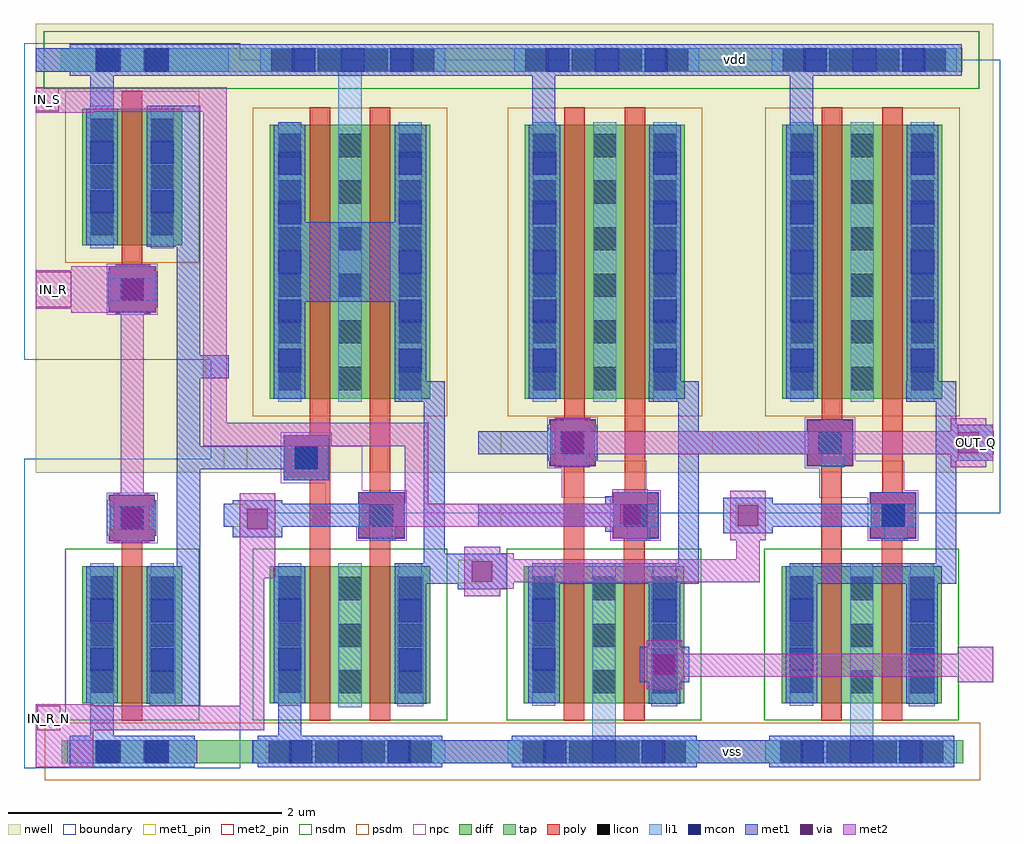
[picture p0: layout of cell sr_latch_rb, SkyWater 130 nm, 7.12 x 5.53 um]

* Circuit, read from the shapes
.subckt sr_latch_rb IN_R IN_R_N IN_S OUT_Q vdd vss
XM1 nand_2/IN_A IN_R vss vss sky130_fd_pr__nfet_01v8 w=1 l=0.15
XM2 nand_2/drain_mna nand_2/IN_A vss vss sky130_fd_pr__nfet_01v8 w=1 l=0.15
XM3 nor_1/IN_B IN_R_N nand_2/drain_mna vss sky130_fd_pr__nfet_01v8 w=1 l=0.15
XM4 vss OUT_Q nor_1/IN_A vss sky130_fd_pr__nfet_01v8 w=1 l=0.15
XM5 nor_1/IN_A IN_S vss vss sky130_fd_pr__nfet_01v8 w=1 l=0.15
XM6 vss nor_1/IN_A OUT_Q vss sky130_fd_pr__nfet_01v8 w=1 l=0.15
XM7 OUT_Q nor_1/IN_B vss vss sky130_fd_pr__nfet_01v8 w=1 l=0.15
XM8 nand_2/IN_A IN_R vdd vdd sky130_fd_pr__pfet_01v8 w=1 l=0.15
XM9 vdd nand_2/IN_A nor_1/IN_B vdd sky130_fd_pr__pfet_01v8 w=2 l=0.15
XM10 nor_1/IN_B IN_R_N vdd vdd sky130_fd_pr__pfet_01v8 w=2 l=0.15
XM11 n1 OUT_Q vdd vdd sky130_fd_pr__pfet_01v8 w=2 l=0.15
XM12 nor_1/IN_A IN_S n1 vdd sky130_fd_pr__pfet_01v8 w=2 l=0.15
XM13 n2 nor_1/IN_A vdd vdd sky130_fd_pr__pfet_01v8 w=2 l=0.15
XM14 OUT_Q nor_1/IN_B n2 vdd sky130_fd_pr__pfet_01v8 w=2 l=0.15
.ends

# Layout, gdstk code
from math import pi, radians
import gdstk
lib = gdstk.Library(unit=1e-6, precision=1e-09)
def R(c, l, rs):  # rectangles x0, y0, x1, y1
    for r in rs: c.add(gdstk.rectangle(r[:2], r[2:], *l))
def A(c, l, x, y, w, h, nx, ny, dx, dy):  # array of equal rectangles
    R(c, l, [(x+i*dx, y+j*dy, x+i*dx+w, y+j*dy+h) for i in range(nx) for j in range(ny)])
nwell = (64, 20)
diff = (65, 20)
tap = (65, 44)
poly = (66, 20)
licon = (66, 44)
li1 = (67, 20)
mcon = (67, 44)
met1_pin = (68, 16)
met1 = (68, 20)
via = (68, 44)
met2_pin = (69, 16)
met2 = (69, 20)
nsdm = (93, 44)
psdm = (94, 20)
npc = (95, 20)
boundary = (235, 4)

sky130_fd_pr__pfet_01v8_ = lib.new_cell('sky130_fd_pr__pfet_01v8_7P3MHC')
R(sky130_fd_pr__pfet_01v8_, nwell, [(-0.705,-1,0.69,1.38)])
R(sky130_fd_pr__pfet_01v8_, diff, [(-0.37,-0.82,0.36,1.18)])
R(sky130_fd_pr__pfet_01v8_, poly, [(-0.08,-0.95,0.07,1.31)])
A(sky130_fd_pr__pfet_01v8_, licon, -0.31, -0.755, 0.17, 0.17, 1, 6, 0, 0.34)
A(sky130_fd_pr__pfet_01v8_, licon, 0.13, -0.755, 0.17, 0.17, 1, 6, 0, 0.34)
R(sky130_fd_pr__pfet_01v8_, li1, [(-0.31,-0.84,-0.14,1.2), (0.13,-0.84,0.3,1.2)])
R(sky130_fd_pr__pfet_01v8_, psdm, [(-0.495,-0.945,0.485,1.305)])
R(sky130_fd_pr__pfet_01v8_, boundary, [(-0.79,-1.655,0.79,1.655)])

nor = lib.new_cell('nor')
R(nor, nwell, [(-5.995,4.82,-4.115,8.1)])
R(nor, diff, [(-5.66,3.14,-4.49,4.14)])
R(nor, tap, [(-5.815,2.7,-4.34,2.87), (-5.77,7.75,-4.34,7.92)])
R(nor, poly, [(-5.37,3.01,-5.22,4.875), (-4.93,3.01,-4.78,4.33), (-4.93,4.33,-4.76,4.345), (-5.01,4.345,-4.68,4.675), (-4.925,4.675,-4.775,5.36), (-5.47,4.875,-5.14,5.205), (-5.365,5.205,-5.215,5.24), (-5.365,5.24,-5.22,5.36)])
A(nor, licon, -5.67, 2.7, 0.17, 0.17, 4, 1, 0.34, 0)
A(nor, licon, -5.16, 3.21, 0.17, 0.17, 1, 3, 0, 0.34)
A(nor, licon, -4.72, 3.21, 0.17, 0.17, 1, 3, 0, 0.34)
A(nor, licon, -5.6, 3.215, 0.17, 0.17, 1, 3, 0, 0.34)
A(nor, licon, -5.65, 7.75, 0.17, 0.17, 4, 1, 0.34, 0)
R(nor, licon, [(-4.93,4.425,-4.76,4.595), (-5.39,4.955,-5.22,5.125)])
R(nor, li1, [(-5.78,2.7,-4.38,2.87), (-5.16,2.87,-4.99,4.16), (-4.73,3.115,-4.54,4.08), (-5.6,3.12,-5.43,4.16), (-4.72,4.08,-4.55,4.16), (-4.91,4.33,-4.74,4.425), (-5.01,4.425,-4.68,4.595), (-5.37,4.86,-5.2,4.955), (-5.47,4.955,-5.14,5.125), (-5.595,5.42,-5.425,7.3), (-4.715,5.42,-4.545,7.3), (-5.73,7.75,-4.38,7.92)])
A(nor, mcon, -5.52, 2.7, 0.17, 0.17, 3, 1, 0.36, 0)
A(nor, mcon, -5.595, 5.555, 0.17, 0.17, 1, 5, 0, 0.36)
A(nor, mcon, -4.715, 5.555, 0.17, 0.17, 1, 5, 0, 0.36)
A(nor, mcon, -5.5, 7.75, 0.17, 0.17, 3, 1, 0.36, 0)
R(nor, mcon, [(-4.72,3.37,-4.55,3.54), (-5.6,3.375,-5.43,3.545), (-4.72,3.73,-4.55,3.9), (-5.6,3.735,-5.43,3.905), (-4.93,4.425,-4.76,4.595), (-5.39,4.955,-5.22,5.125)])
R(nor, met1_pin, [(-5.69,2.7,-4.46,2.87), (-5.995,4.425,-5.825,4.595), (-5.995,4.955,-5.825,5.125), (-4.285,4.955,-4.115,5.125), (-5.65,7.75,-4.46,7.92)])
R(nor, met1, [(-5.75,2.67,-4.4,2.9), (-4.75,3.135,-4.52,4.01), (-5.63,3.14,-5.4,4.01), (-5.63,4.01,-4.385,4.14), (-5.6,4.14,-4.385,4.16), (-4.535,4.16,-4.385,4.955), (-5.015,4.34,-4.675,4.425), (-5.995,4.425,-4.675,4.595), (-5.015,4.595,-4.675,4.68), (-5.475,4.87,-5.135,4.955), (-5.995,4.955,-5.135,5.125), (-4.535,4.955,-4.115,5.125), (-5.475,5.125,-5.135,5.21), (-4.535,5.125,-4.385,5.34), (-4.75,5.34,-4.385,5.49), (-5.625,5.36,-5.395,7.36), (-4.745,5.49,-4.515,7.36), (-5.6,7.36,-5.43,7.72), (-5.71,7.72,-4.4,7.95)])
R(nor, nsdm, [(-5.785,3.015,-4.365,4.265), (-5.895,7.625,-4.215,8.045)])
R(nor, psdm, [(-5.94,2.575,-4.215,2.995)])
R(nor, npc, [(-5.03,4.325,-4.66,4.64), (-5.385,4.64,-4.66,4.695), (-5.385,4.695,-4.765,4.855), (-5.49,4.855,-4.765,4.91), (-5.49,4.91,-5.12,5.225)])
nor.add(gdstk.Reference(sky130_fd_pr__pfet_01v8_, (-5.295,6.18), rotation=pi, x_reflection=True))
nor.add(gdstk.Reference(sky130_fd_pr__pfet_01v8_, (-4.855,6.18), rotation=pi, x_reflection=True))
nor.add(gdstk.Label('IN_A', (-5.91,5.04), layer=68, texttype=5))
nor.add(gdstk.Label('IN_B', (-5.91,4.51), layer=68, texttype=5))
nor.add(gdstk.Label('OUT', (-4.2,5.04), layer=68, texttype=5))
nor.add(gdstk.Label('vdd', (-5.055,7.835), layer=68, texttype=5))
nor.add(gdstk.Label('vss', (-5.075,2.785), layer=68, texttype=5))

nand = lib.new_cell('nand')
R(nand, nwell, [(-5.995,4.82,-4.115,7.56), (-5.99,7.56,-4.115,8.1)])
R(nand, diff, [(-5.66,3.14,-4.49,4.14)])
R(nand, tap, [(-5.815,2.7,-4.34,2.87), (-5.77,7.75,-4.34,7.92)])
R(nand, poly, [(-5.37,3.01,-5.22,4.765), (-4.93,3.01,-4.78,4.33), (-4.93,4.33,-4.76,4.345), (-5.01,4.345,-4.68,4.675), (-4.93,4.675,-4.78,5.36), (-5.56,4.765,-5.22,5.095), (-5.37,5.095,-5.22,5.36)])
A(nand, licon, -5.67, 2.7, 0.17, 0.17, 4, 1, 0.34, 0)
A(nand, licon, -5.16, 3.21, 0.17, 0.17, 1, 3, 0, 0.34)
A(nand, licon, -4.72, 3.21, 0.17, 0.17, 1, 3, 0, 0.34)
A(nand, licon, -5.6, 3.215, 0.17, 0.17, 1, 3, 0, 0.34)
A(nand, licon, -5.65, 7.75, 0.17, 0.17, 4, 1, 0.34, 0)
R(nand, licon, [(-4.93,4.425,-4.76,4.595), (-5.48,4.845,-5.31,5.015)])
R(nand, li1, [(-5.78,2.7,-4.38,2.87), (-5.16,3.11,-4.99,4.16), (-4.73,3.115,-4.54,4.08), (-5.6,3.12,-5.43,4.16), (-4.72,4.08,-4.55,4.16), (-4.91,4.33,-4.74,4.425), (-5.01,4.425,-4.68,4.595), (-5.56,4.765,-5.23,5.095), (-5.6,5.42,-5.43,7.3), (-4.72,5.42,-4.55,7.3), (-5.16,7.3,-4.99,7.75), (-5.73,7.75,-4.38,7.92)])
A(nand, mcon, -5.52, 2.7, 0.17, 0.17, 3, 1, 0.36, 0)
A(nand, mcon, -5.6, 5.555, 0.17, 0.17, 1, 5, 0, 0.36)
A(nand, mcon, -4.72, 5.555, 0.17, 0.17, 1, 5, 0, 0.36)
A(nand, mcon, -5.5, 7.75, 0.17, 0.17, 3, 1, 0.36, 0)
R(nand, mcon, [(-4.72,3.37,-4.55,3.54), (-5.6,3.375,-5.43,3.545), (-4.72,3.73,-4.55,3.9), (-5.6,3.735,-5.43,3.905), (-4.93,4.425,-4.76,4.595), (-5.48,4.845,-5.31,5.015)])
R(nand, met1_pin, [(-5.69,2.7,-4.46,2.87), (-4.285,4.015,-4.115,4.185), (-5.995,4.425,-5.825,4.595), (-5.995,4.845,-5.825,5.015), (-5.65,7.75,-4.46,7.92)])
R(nand, met1, [(-5.75,2.67,-4.4,2.9), (-5.6,2.9,-5.43,3.14), (-4.75,3.135,-4.52,4.01), (-5.63,3.14,-5.4,4.14), (-4.75,4.01,-4.115,4.16), (-4.535,4.16,-4.115,4.19), (-4.535,4.19,-4.385,5.34), (-5.015,4.34,-4.675,4.425), (-5.995,4.425,-4.675,4.595), (-5.015,4.595,-4.675,4.68), (-5.56,4.765,-5.23,4.845), (-5.995,4.845,-5.23,5.015), (-5.56,5.015,-5.23,5.095), (-4.75,5.34,-4.385,5.49), (-5.63,5.36,-5.4,6.07), (-4.75,5.49,-4.52,6.07), (-5.63,6.07,-4.52,6.65), (-5.63,6.65,-5.4,7.36), (-4.75,6.65,-4.52,7.36), (-5.6,7.36,-5.43,7.38), (-5.71,7.72,-4.4,7.95)])
R(nand, nsdm, [(-5.785,3.015,-4.365,4.265), (-5.895,7.625,-4.215,8.045)])
R(nand, psdm, [(-5.94,2.575,-4.215,2.995)])
R(nand, npc, [(-5.03,4.325,-4.66,4.425), (-5.255,4.425,-4.66,4.695), (-5.255,4.695,-4.985,4.745), (-5.58,4.745,-4.985,5.015), (-5.58,5.015,-5.21,5.115)])
nand.add(gdstk.Reference(sky130_fd_pr__pfet_01v8_, (-5.3,6.18), rotation=pi, x_reflection=True))
nand.add(gdstk.Reference(sky130_fd_pr__pfet_01v8_, (-4.86,6.18), rotation=pi, x_reflection=True))
nand.add(gdstk.Label('drain_mna', (-5.07,3.64), layer=67, texttype=5))
nand.add(gdstk.Label('IN_A', (-5.91,4.93), layer=68, texttype=5))
nand.add(gdstk.Label('IN_B', (-5.91,4.51), layer=68, texttype=5))
nand.add(gdstk.Label('OUT', (-4.2,4.1), layer=68, texttype=5))
nand.add(gdstk.Label('vdd', (-5.055,7.835), layer=68, texttype=5))
nand.add(gdstk.Label('vss', (-5.075,2.785), layer=68, texttype=5))

sky130_fd_pr__nfet_01v8_ = lib.new_cell('sky130_fd_pr__nfet_01v8_BXYDM4')
R(sky130_fd_pr__nfet_01v8_, diff, [(-0.365,-0.655,0.365,0.345)])
R(sky130_fd_pr__nfet_01v8_, poly, [(-0.075,-0.785,0.075,0.475)])
A(sky130_fd_pr__nfet_01v8_, licon, 0.135, -0.585, 0.17, 0.17, 1, 3, 0, 0.34)
A(sky130_fd_pr__nfet_01v8_, licon, -0.305, -0.58, 0.17, 0.17, 1, 3, 0, 0.34)
R(sky130_fd_pr__nfet_01v8_, li1, [(0.125,-0.68,0.315,0.285), (-0.305,-0.675,-0.135,0.365), (0.135,0.285,0.305,0.365)])
R(sky130_fd_pr__nfet_01v8_, mcon, [(0.135,-0.425,0.305,-0.255), (-0.305,-0.42,-0.135,-0.25), (0.135,-0.065,0.305,0.105), (-0.305,-0.06,-0.135,0.11)])
R(sky130_fd_pr__nfet_01v8_, met1, [(0.105,-0.66,0.335,0.345), (-0.335,-0.655,-0.105,0.345)])
R(sky130_fd_pr__nfet_01v8_, nsdm, [(-0.49,-0.78,0.49,0.47)])
R(sky130_fd_pr__nfet_01v8_, boundary, [(-0.79,-1.13,0.79,1.13)])

c_sky130_fd_pr__pfet_01v8_ = lib.new_cell('sky130_fd_pr__pfet_01v8_7PK3FC')
R(c_sky130_fd_pr__pfet_01v8_, nwell, [(-0.705,-0.89,0.705,1.3)])
R(c_sky130_fd_pr__pfet_01v8_, diff, [(-0.365,-0.32,0.365,0.68)])
R(c_sky130_fd_pr__pfet_01v8_, tap, [(-0.52,0.95,0.52,1.12)])
R(c_sky130_fd_pr__pfet_01v8_, poly, [(-0.165,-0.805,0.165,-0.475), (-0.075,-0.475,0.075,0.81)])
A(c_sky130_fd_pr__pfet_01v8_, licon, -0.305, -0.245, 0.17, 0.17, 1, 3, 0, 0.34)
A(c_sky130_fd_pr__pfet_01v8_, licon, 0.135, -0.245, 0.17, 0.17, 1, 3, 0, 0.34)
R(c_sky130_fd_pr__pfet_01v8_, licon, [(-0.085,-0.725,0.085,-0.555), (-0.255,0.95,-0.085,1.12), (0.085,0.95,0.255,1.12)])
R(c_sky130_fd_pr__pfet_01v8_, li1, [(-0.165,-0.725,0.165,-0.555), (-0.305,-0.34,-0.135,0.7), (0.135,-0.34,0.305,0.7), (-0.705,0.95,0.705,1.12)])
R(c_sky130_fd_pr__pfet_01v8_, mcon, [(-0.085,-0.725,0.085,-0.555), (-0.305,-0.085,-0.135,0.085), (0.135,-0.085,0.305,0.085), (-0.305,0.275,-0.135,0.445), (0.135,0.275,0.305,0.445)])
R(c_sky130_fd_pr__pfet_01v8_, met1, [(-0.17,-0.81,0.17,-0.47), (-0.335,-0.32,-0.105,0.68), (0.105,-0.32,0.335,0.68), (-0.705,0.95,0.705,1.12)])
R(c_sky130_fd_pr__pfet_01v8_, nsdm, [(-0.645,0.825,0.645,1.245)])
R(c_sky130_fd_pr__pfet_01v8_, psdm, [(-0.49,-0.445,0.49,0.805)])
R(c_sky130_fd_pr__pfet_01v8_, npc, [(-0.185,-0.825,0.185,-0.455)])
R(c_sky130_fd_pr__pfet_01v8_, boundary, [(-0.79,-1.155,0.79,1.155)])

inv = lib.new_cell('inv')
R(inv, nwell, [(4.89,6.09,6.3,7.185)])
R(inv, tap, [(5.08,3.97,6.11,4.14)])
R(inv, poly, [(5.52,5.41,5.67,5.595), (5.43,5.595,5.76,5.925), (5.52,7.265,5.67,7.52)])
R(inv, licon, [(5.34,3.97,5.51,4.14), (5.68,3.97,5.85,4.14), (5.51,5.675,5.68,5.845)])
R(inv, li1, [(5.12,3.97,6.07,4.14), (5.43,5.675,5.76,5.845), (5.2,9.02,5.99,9.19)])
R(inv, mcon, [(5.33,3.97,5.5,4.14), (5.69,3.97,5.86,4.14), (5.51,5.675,5.68,5.845), (5.33,9.02,5.5,9.19), (5.69,9.02,5.86,9.19)])
R(inv, met1_pin, [(5.2,3.97,5.99,4.14), (6.13,6.78,6.3,6.95), (5.2,9.02,5.99,9.19)])
R(inv, met1, [(5.14,3.94,6.05,4.17), (5.29,4.17,5.46,5.35), (5.73,4.39,6.09,5.35), (5.92,5.35,6.09,6.78), (5.425,5.59,5.76,5.63), (5.41,5.63,5.77,5.89), (5.425,5.89,5.76,5.93), (5.92,6.78,6.3,6.95), (5.92,6.95,6.09,7.74), (5.43,7.26,5.76,7.3), (5.42,7.3,5.78,7.56), (5.43,7.56,5.76,7.6), (5.7,7.74,6.09,8.77), (5.29,7.81,5.46,8.99), (5.14,8.99,6.05,9.22)])
R(inv, via, [(5.515,5.685,5.665,5.835), (5.525,7.355,5.675,7.505)])
R(inv, met2_pin, [(4.89,7.3,5.15,7.56)])
R(inv, met2, [(5.46,5.58,5.72,5.94), (5.51,5.94,5.68,7.25), (5.47,7.25,5.73,7.26), (5.42,7.26,5.77,7.345), (4.89,7.29,5.16,7.345), (4.89,7.345,5.77,7.515), (4.89,7.515,5.16,7.57), (5.42,7.515,5.77,7.6), (5.47,7.6,5.73,7.61)])
R(inv, psdm, [(4.955,3.845,6.235,4.265)])
R(inv, npc, [(5.41,5.575,5.78,5.945)])
inv.add(gdstk.Reference(sky130_fd_pr__nfet_01v8_, (5.595,5.065)))
inv.add(gdstk.Reference(c_sky130_fd_pr__pfet_01v8_, (5.595,8.07)))
inv.add(gdstk.Label('vin', (5.02,7.43), layer=69, texttype=5))
inv.add(gdstk.Label('vout', (6.215,6.865), layer=68, texttype=5))
inv.add(gdstk.Label('vdd', (5.595,9.105), layer=68, texttype=5))
inv.add(gdstk.Label('vss', (5.595,4.055), layer=68, texttype=5))

sr_latch_rb = lib.new_cell('sr_latch_rb')
R(sr_latch_rb, nwell, [(-33.145,6.85,-26.58,7.02)])
R(sr_latch_rb, tap, [(-33.14,1.8,-26.56,1.97), (-33.145,6.85,-26.58,7.02)])
R(sr_latch_rb, met1_pin, [(-29.795,1.8,-26.685,1.97), (-29.755,6.85,-26.685,7.02)])
R(sr_latch_rb, met1, [(-33.02,1.8,-32.15,1.97), (-31.75,1.8,-26.665,1.97), (-28.92,2.39,-28.56,2.65), (-30.25,3.07,-29.89,3.29), (-30.39,3.29,-29.89,3.33), (-31.89,3.45,-31.53,3.72), (-28.31,3.48,-27.95,3.74), (-29.17,3.49,-28.81,3.75), (-30.1,3.525,-29.93,3.695), (-32.16,3.945,-31.79,4.115), (-29.59,4.01,-29.23,4.27), (-26.7,4.01,-26.34,4.27), (-30.1,4.055,-29.93,4.225), (-33.08,6.82,-26.57,7.05)])
R(sr_latch_rb, via, [(-28.815,2.445,-28.665,2.595), (-30.145,3.125,-29.995,3.275), (-31.785,3.51,-31.635,3.66), (-28.205,3.535,-28.055,3.685), (-29.065,3.545,-28.915,3.695), (-29.485,4.065,-29.335,4.215), (-26.595,4.065,-26.445,4.215)])
R(sr_latch_rb, met2_pin, [(-33.32,2.04,-33.15,2.22), (-26.6,4.01,-26.34,4.27), (-33.33,5.13,-33.07,5.39), (-33.33,6.56,-33.16,6.73)])
R(sr_latch_rb, met2, [(-33.33,1.77,-32.91,2.04), (-33.33,2.04,-31.66,2.22), (-33.33,2.22,-32.91,2.23), (-31.84,2.22,-31.66,3.15), (-28.87,2.34,-28.61,2.43), (-26.6,2.39,-26.34,2.43), (-28.87,2.43,-26.34,2.6), (-28.87,2.6,-28.61,2.7), (-26.6,2.6,-26.34,2.65), (-30.2,3.02,-29.94,3.075), (-30.2,3.075,-29.84,3.12), (-30.2,3.12,-28.045,3.29), (-31.84,3.15,-31.58,3.77), (-30.2,3.29,-29.84,3.335), (-28.215,3.29,-28.045,3.43), (-30.2,3.335,-29.94,3.38), (-28.26,3.43,-28,3.79), (-29.12,3.44,-28.86,3.525), (-30.895,3.45,-30.725,3.525), (-30.895,3.525,-28.86,3.695), (-30.635,3.695,-30.465,4.115), (-29.12,3.695,-28.86,3.8), (-29.54,3.96,-29.28,4.055), (-26.65,3.96,-26.39,4.01), (-26.65,4.01,-26.34,4.055), (-29.54,4.055,-26.335,4.225), (-32.105,4.115,-30.465,4.285), (-29.54,4.225,-29.28,4.32), (-26.65,4.225,-26.34,4.27), (-26.65,4.27,-26.39,4.32), (-32.105,4.285,-31.935,6.555), (-33.07,5.09,-32.76,5.12), (-33.33,5.12,-32.76,5.4), (-33.07,5.4,-32.76,5.43), (-33.33,6.55,-32.91,6.555), (-33.33,6.555,-31.935,6.735)])
R(sr_latch_rb, nsdm, [(-33.27,6.725,-26.455,7.145)])
R(sr_latch_rb, psdm, [(-33.265,1.675,-26.435,2.095)])
sr_latch_rb.add(gdstk.Reference(nor, (-24.105,-0.9)))
sr_latch_rb.add(gdstk.Reference(nor, (-22.225,-0.9)))
sr_latch_rb.add(gdstk.Reference(nand, (-25.96,-0.9)))
sr_latch_rb.add(gdstk.Reference(inv, (-38.22,-2.17)))
sr_latch_rb.add(gdstk.Label('IN_S', (-33.245,6.645), layer=69, texttype=5))
sr_latch_rb.add(gdstk.Label('IN_R', (-33.2,5.26), layer=69, texttype=5))
sr_latch_rb.add(gdstk.Label('IN_R_N', (-33.235,2.13), layer=69, texttype=5))
sr_latch_rb.add(gdstk.Label('OUT_Q', (-26.47,4.14), layer=69, texttype=5))
sr_latch_rb.add(gdstk.Label('vdd', (-28.22,6.935), layer=68, texttype=5))
sr_latch_rb.add(gdstk.Label('vss', (-28.24,1.885), layer=68, texttype=5))

lib.write_gds('sr_latch_rb.gds')
